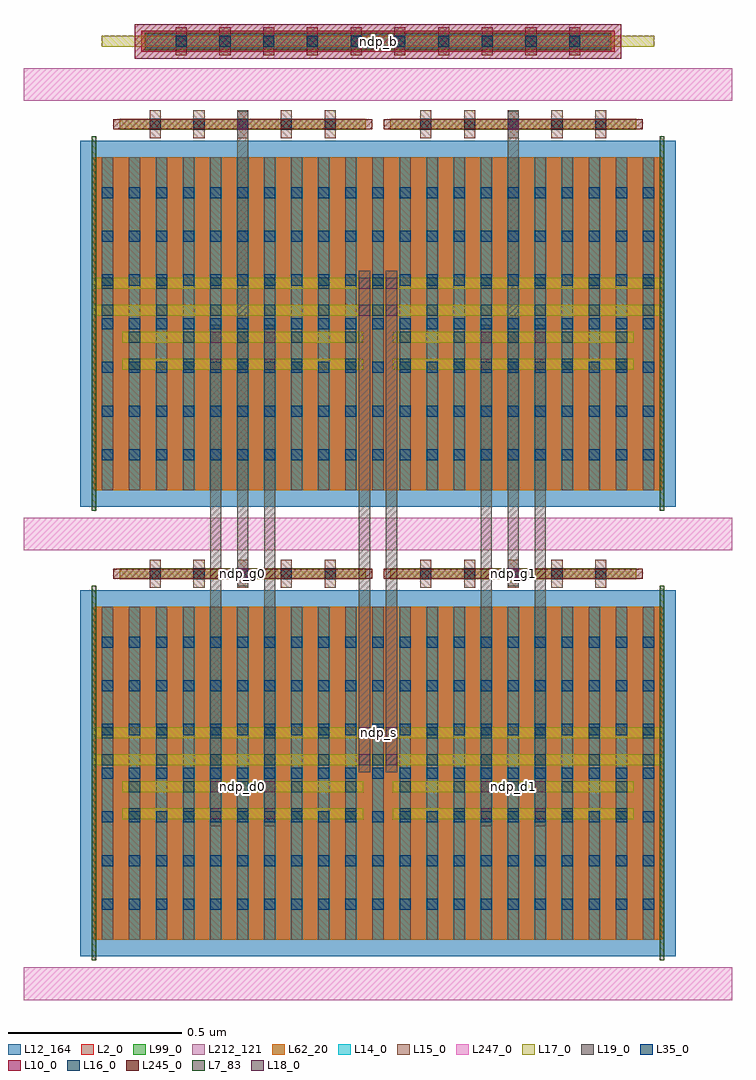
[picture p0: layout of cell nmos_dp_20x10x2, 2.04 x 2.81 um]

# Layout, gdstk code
import gdstk
lib = gdstk.Library(unit=1e-6, precision=1e-12)
def R(c, l, rs):  # rectangles x0, y0, x1, y1
    for r in rs: c.add(gdstk.rectangle(r[:2], r[2:], *l))
def A(c, l, x, y, w, h, nx, ny, dx, dy):  # array of equal rectangles
    R(c, l, [(x+i*dx, y+j*dy, x+i*dx+w, y+j*dy+h) for i in range(nx) for j in range(ny)])
L2_0 = (2, 0)
L7_83 = (7, 83)
L10_0 = (10, 0)
L12_164 = (12, 164)
L14_0 = (14, 0)
L15_0 = (15, 0)
L16_0 = (16, 0)
L17_0 = (17, 0)
L18_0 = (18, 0)
L19_0 = (19, 0)
L35_0 = (35, 0)
L62_20 = (62, 20)
L99_0 = (99, 0)
L212_121 = (212, 121)
L245_0 = (245, 0)
L247_0 = (247, 0)

nmos_dp_20x10x2 = lib.new_cell('nmos_dp_20x10x2')
R(nmos_dp_20x10x2, L2_0, [(0,0,1.638,0.96), (0,1.296,1.638,2.256), (0.137,2.56,1.501,2.62)])
R(nmos_dp_20x10x2, L7_83, [(-0.007,-0.06,0.007,1.02), (1.631,-0.06,1.645,1.02), (-0.007,1.236,0.007,2.316), (1.631,1.236,1.645,2.316)])
R(nmos_dp_20x10x2, L10_0, [(0.117,2.54,1.521,2.64)])
R(nmos_dp_20x10x2, L12_164, [(-0.039,-0.048,1.677,1.008), (-0.039,1.248,1.677,2.304)])
A(nmos_dp_20x10x2, L14_0, 0.022, 0, 0.034, 0.96, 21, 2, 0.078, 1.296)
R(nmos_dp_20x10x2, L14_0, [(0.152,2.57,1.486,2.61)])
A(nmos_dp_20x10x2, L15_0, 0.023, 0, 0.032, 0.96, 21, 2, 0.078, 1.296)
A(nmos_dp_20x10x2, L15_0, 0.161, 1.015, 0.032, 0.08, 5, 2, 0.126, 1.296)
A(nmos_dp_20x10x2, L15_0, 0.941, 1.015, 0.032, 0.08, 5, 2, 0.126, 1.296)
A(nmos_dp_20x10x2, L15_0, 0.236, 2.55, 0.032, 0.08, 10, 1, 0.126, 0)
A(nmos_dp_20x10x2, L16_0, 0.101, 0.347, 0.032, 0.032, 10, 2, 0.156, 0.078)
A(nmos_dp_20x10x2, L16_0, 0.023, 0.503, 0.032, 0.032, 11, 2, 0.156, 0.078)
A(nmos_dp_20x10x2, L16_0, 0.161, 1.039, 0.032, 0.032, 5, 2, 0.126, 1.296)
A(nmos_dp_20x10x2, L16_0, 0.941, 1.039, 0.032, 0.032, 5, 2, 0.126, 1.296)
A(nmos_dp_20x10x2, L16_0, 0.101, 1.643, 0.032, 0.032, 10, 2, 0.156, 0.078)
A(nmos_dp_20x10x2, L16_0, 0.023, 1.799, 0.032, 0.032, 11, 2, 0.156, 0.078)
A(nmos_dp_20x10x2, L16_0, 0.236, 2.574, 0.032, 0.032, 10, 1, 0.126, 0)
R(nmos_dp_20x10x2, L17_0, [(0.081,0.347,0.777,0.379), (0.861,0.347,1.557,0.379), (0.081,0.425,0.777,0.457), (0.861,0.425,1.557,0.457), (0,0.503,1.638,0.535), (0,0.581,1.638,0.613), (0.075,1.039,0.783,1.071), (0.855,1.039,1.563,1.071), (0.081,1.643,0.777,1.675), (0.861,1.643,1.557,1.675), (0.081,1.721,0.777,1.753), (0.861,1.721,1.557,1.753), (0,1.799,1.638,1.831), (0,1.877,1.638,1.909), (0.075,2.335,0.783,2.367), (0.855,2.335,1.563,2.367), (0.023,2.574,1.615,2.606)])
R(nmos_dp_20x10x2, L18_0, [(0.335,0.347,0.367,0.379), (0.491,0.347,0.523,0.379), (1.115,0.347,1.147,0.379), (1.271,0.347,1.303,0.379), (0.335,0.425,0.367,0.457), (0.491,0.425,0.523,0.457), (1.115,0.425,1.147,0.457), (1.271,0.425,1.303,0.457), (0.764,0.503,0.796,0.535), (0.842,0.503,0.874,0.535), (0.764,0.581,0.796,0.613), (0.842,0.581,0.874,0.613), (0.413,1.039,0.445,1.071), (1.193,1.039,1.225,1.071), (0.335,1.643,0.367,1.675), (0.491,1.643,0.523,1.675), (1.115,1.643,1.147,1.675), (1.271,1.643,1.303,1.675), (0.335,1.721,0.367,1.753), (0.491,1.721,0.523,1.753), (1.115,1.721,1.147,1.753), (1.271,1.721,1.303,1.753), (0.764,1.799,0.796,1.831), (0.842,1.799,0.874,1.831), (0.764,1.877,0.796,1.909), (0.842,1.877,0.874,1.909), (0.413,2.335,0.445,2.367), (1.193,2.335,1.225,2.367)])
R(nmos_dp_20x10x2, L19_0, [(0.335,0.327,0.367,1.773), (0.491,0.327,0.523,1.773), (1.115,0.327,1.147,1.773), (1.271,0.327,1.303,1.773), (0.764,0.483,0.796,1.929), (0.842,0.483,0.874,1.929), (0.413,1.019,0.445,2.388), (1.193,1.019,1.225,2.388)])
A(nmos_dp_20x10x2, L35_0, 0.023, 0.086, 0.032, 0.032, 21, 7, 0.078, 0.126)
A(nmos_dp_20x10x2, L35_0, 0.161, 1.039, 0.032, 0.032, 5, 2, 0.126, 1.296)
A(nmos_dp_20x10x2, L35_0, 0.941, 1.039, 0.032, 0.032, 5, 2, 0.126, 1.296)
A(nmos_dp_20x10x2, L35_0, 0.023, 1.382, 0.032, 0.032, 21, 7, 0.078, 0.126)
A(nmos_dp_20x10x2, L35_0, 0.236, 2.574, 0.032, 0.032, 10, 1, 0.126, 0)
R(nmos_dp_20x10x2, L62_20, [(0,0,1.638,0.96), (0,1.296,1.638,2.256)])
R(nmos_dp_20x10x2, L99_0, [(0,0,1.638,0.96), (0,1.296,1.638,2.256), (0.147,2.565,1.491,2.615)])
R(nmos_dp_20x10x2, L212_121, [(0,0,1.638,0.96), (0,1.296,1.638,2.256)])
R(nmos_dp_20x10x2, L245_0, [(0.055,1.04,0.803,1.07), (0.835,1.04,1.583,1.07), (0.055,2.336,0.803,2.366), (0.835,2.336,1.583,2.366)])
A(nmos_dp_20x10x2, L247_0, -0.202, -0.174, 2.042, 0.094, 1, 3, 0, 1.296)
nmos_dp_20x10x2.add(gdstk.Label('ndp_s', (0.819,0.597), layer=16, texttype=20))
nmos_dp_20x10x2.add(gdstk.Label('ndp_d1', (1.209,0.441), layer=16, texttype=20))
nmos_dp_20x10x2.add(gdstk.Label('ndp_d0', (0.429,0.441), layer=16, texttype=20))
nmos_dp_20x10x2.add(gdstk.Label('ndp_g0', (0.429,1.0555), layer=16, texttype=20))
nmos_dp_20x10x2.add(gdstk.Label('ndp_g1', (1.209,1.0555), layer=16, texttype=20))
nmos_dp_20x10x2.add(gdstk.Label('ndp_b', (0.819,2.59), layer=16, texttype=20))

lib.write_gds('nmos_dp_20x10x2.gds')
